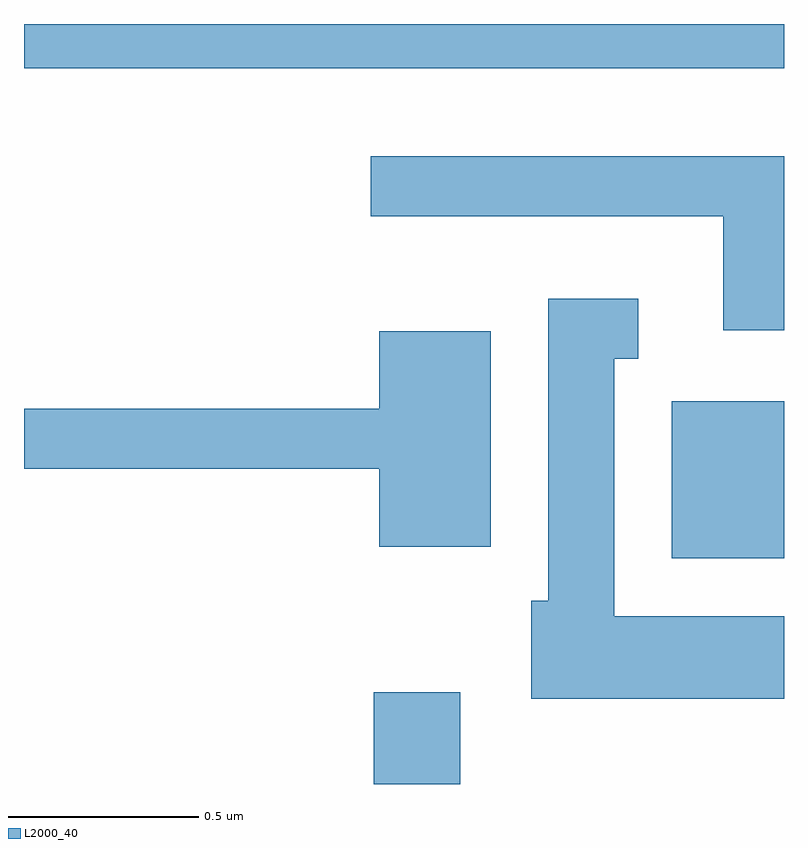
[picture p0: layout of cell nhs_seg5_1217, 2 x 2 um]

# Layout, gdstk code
import gdstk
lib = gdstk.Library(unit=1e-6, precision=1e-09)
def R(c, l, rs):  # rectangles x0, y0, x1, y1
    for r in rs: c.add(gdstk.rectangle(r[:2], r[2:], *l))
def P(c, l, *ps):  # polygons
    for p in ps: c.add(gdstk.Polygon(p, *l))
L2000_40 = (2000, 40)

nhs_seg5_1217 = lib.new_cell('nhs_seg5_1217')
R(nhs_seg5_1217, L2000_40, [(194.531,1517.072,194.759,1517.314), (195.316,1517.666,195.611,1518.079), (193.611,1518.956,195.611,1519.072)])
P(nhs_seg5_1217, L2000_40, [(195.611,1518.724),(194.523,1518.724),(194.523,1518.566),(195.451,1518.566),(195.451,1518.266),(195.611,1518.266)],
  [(195.611,1517.514),(195.164,1517.514),(195.164,1518.191),(195.228,1518.191),(195.228,1518.349),(194.991,1518.349),(194.991,1517.554),(194.946,1517.554),(194.946,1517.296),(195.611,1517.296)],
  [(194.839,1518.264),(194.546,1518.264),(194.546,1518.059),(193.611,1518.059),(193.611,1517.901),(194.546,1517.901),(194.546,1517.696),(194.839,1517.696)])

lib.write_gds('nhs_seg5_1217.gds')
